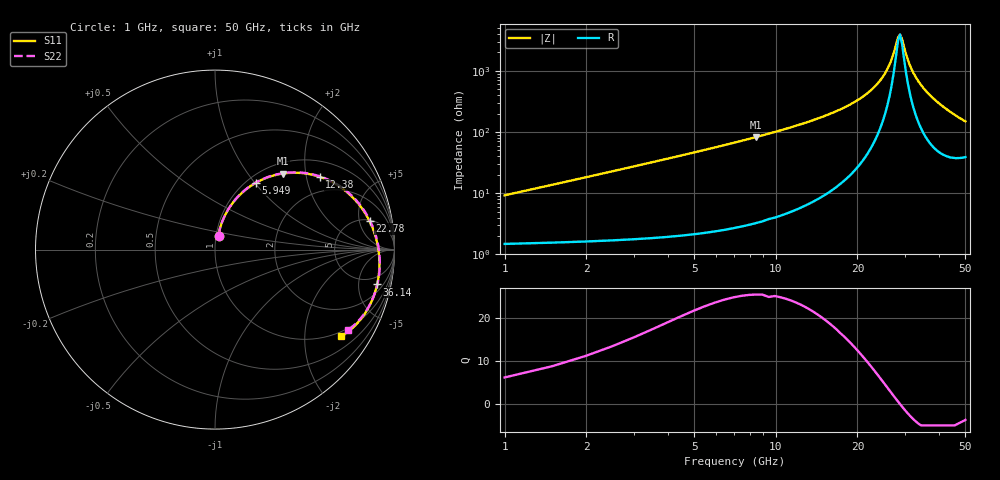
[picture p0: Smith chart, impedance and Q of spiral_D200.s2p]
! rapidmom parametric dataset (SG13G2 open stack, IHP)
! device = spiral
! family = spiral_N2
! stack = IHP SG13G2 (open PDK)
! Dout_um = 200
! width_um = 10
! spacing_um = 3
! sides = 8
! n_ports = 2
! n_dof = 5850
! cell_um = 3.333
! sweep = ROM (rational fit from adaptive anchor solves)
! rom_converged = True
! f_points = 100
! f_min_hz = 1.000e+09
! f_max_hz = 5.000e+10
! tool = rapidmom (2.5D MoM, A-EFIE)
! N = 2
# HZ S RI R 50
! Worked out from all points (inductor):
!   100 points, 1 GHz to 50 GHz, reference 50 ohm
!   read as 1/Y11, port 2 shorted: L = 1.44 nH near 1 GHz
!   highest Q = 25.4 at 8.424 GHz (marker M1), where L = 1.55 nH
!   self-resonance near 28.22 GHz
!   S11 on the Smith chart (normalised r, x): 1 GHz: 1.03, +0.16; 5.949 GHz: 1.10, +1.02; 12.38 GHz: 1.46, +2.40; 22.78 GHz: 5.23, +7.12; 36.14 GHz: 3.11, -8.27; 50 GHz: 0.85, -2.98
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1e9  0.0196 0.0784  0.9748 -0.097  0.9748 -0.097  0.0196 0.0784
1.494949e9  0.0277 0.1182  0.9627 -0.1405  0.9626 -0.1405  0.0275 0.1181
1.989899e9  0.04 0.1555  0.9482 -0.1834  0.9482 -0.1834  0.0397 0.1554
2.484848e9  0.0556 0.1912  0.931 -0.2242  0.931 -0.2242  0.0552 0.1911
2.979798e9  0.0743 0.2249  0.9111 -0.2629  0.9111 -0.2629  0.0738 0.2248
3.474747e9  0.0957 0.2563  0.8889 -0.2993  0.8889 -0.2993  0.0949 0.2563
4.464646e9  0.1449 0.3114  0.8384 -0.3643  0.8384 -0.3643  0.1438 0.3115
5.949495e9  0.2293 0.3732  0.7525 -0.4416  0.7525 -0.4416  0.2276 0.3737
6.939394e9  0.2887 0.4008  0.6922 -0.4797  0.6922 -0.4797  0.2866 0.4017
8.424242e9  0.3773 0.4237  0.6021 -0.5188  0.6021 -0.5188  0.3746 0.4253
9.414141e9  0.4345 0.4278  0.5445 -0.5343  0.5445 -0.5343  0.4317 0.4299
1.238384e10  0.5828 0.4056  0.3912 -0.5456  0.3912 -0.5456  0.579 0.4098
1.485859e10  0.6803 0.3599  0.2889 -0.5291  0.2889 -0.5291  0.6761 0.3661
1.782828e10  0.7683 0.2895  0.1933 -0.495  0.1933 -0.495  0.7641 0.2985
2.277778e10  0.8609 0.159  0.0824 -0.4281  0.0824 -0.4281  0.8576 0.1728
2.574747e10  0.8925 0.0792  0.0355 -0.3885  0.0355 -0.3885  0.8903 0.0962
2.970707e10  0.9135 -0.0263  -0.013 -0.3391  -0.013 -0.3391  0.9137 -0.00481
3.366667e10  0.9136 -0.1302  -0.0511 -0.2935  -0.0511 -0.2935  0.9175 -0.104
3.614141e10  0.9035 -0.1939  -0.0722 -0.2665  -0.0722 -0.2665  0.9106 -0.1648
4.208081e10  0.8461 -0.3392  -0.1197 -0.2005  -0.1197 -0.2005  0.8642 -0.3037
4.60404e10  0.7813 -0.4228  -0.1515 -0.1485  -0.1515 -0.1485  0.8102 -0.3851
5e10  0.6995 -0.4841  -0.1783 -0.0795  -0.1783 -0.0795  0.7407 -0.4486
